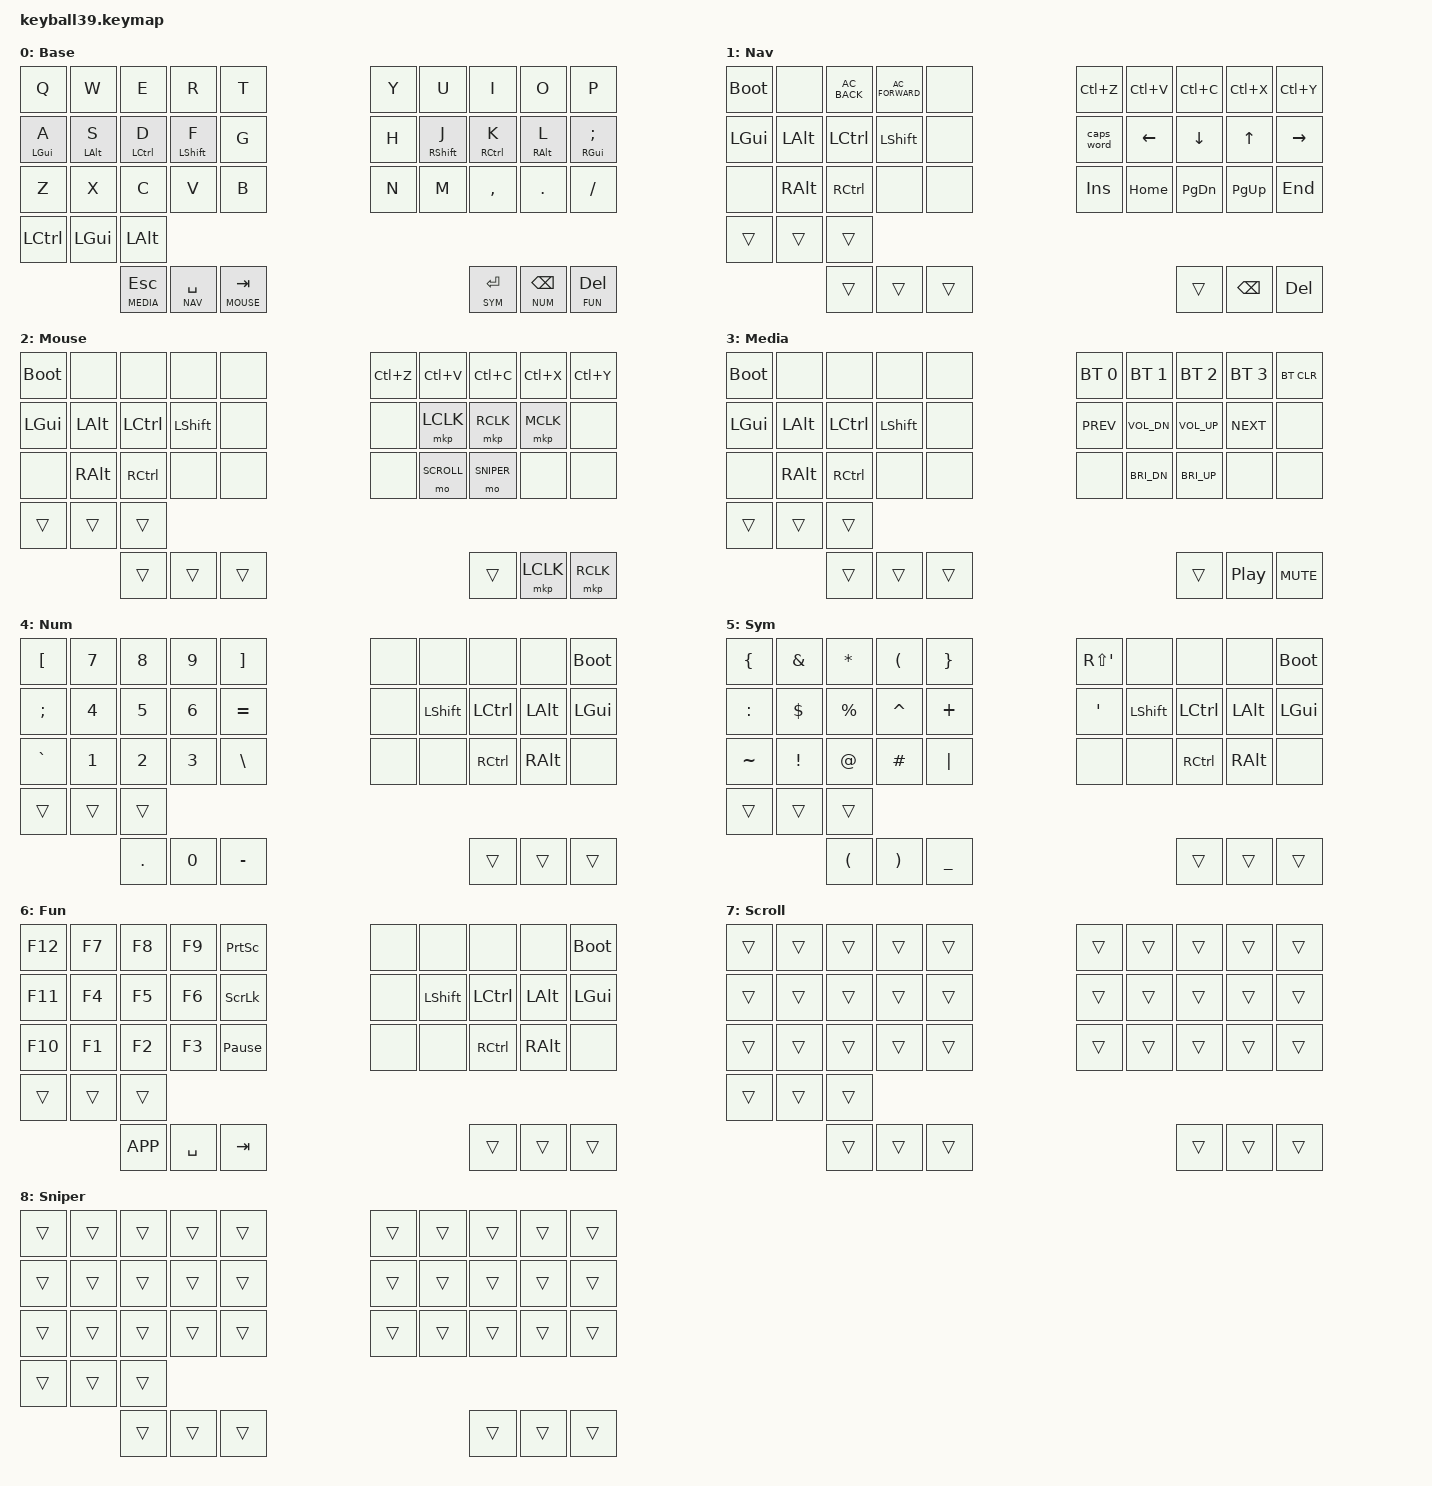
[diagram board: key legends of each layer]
// Copyright 2024 Keyball39 Miryoku Layout
// Miryoku-inspired layout for Keyball39 with trackball support

#include <behaviors/mouse_keys.dtsi>
#include <dt-bindings/zmk/mouse.h>
#include <behaviors.dtsi>
#include <dt-bindings/zmk/bt.h>
#include <dt-bindings/zmk/keys.h>

// Layer definitions
#define BASE   0
#define NAV    1
#define MOUSE  2
#define MEDIA  3
#define NUM    4
#define SYM    5
#define FUN    6
#define SCROLL    7
#define SNIPER    8

// Key position groups for timeless home row mods.
#define KEYS_L 0 1 2 3 4 10 11 12 13 14 20 21 22 23 24 30 31 32
#define KEYS_R 5 6 7 8 9 15 16 17 18 19 25 26 27 28 29
#define THUMBS 33 34 35 36 37 38

// Miryoku-style behavior configurations
&lt {
    tapping-term-ms = <200>;
    flavor = "balanced";
    quick-tap-ms = <150>;
};

&mt {
    tapping-term-ms = <200>;
    flavor = "tap-preferred";
    quick-tap-ms = <150>;
};

&caps_word {
    continue-list = <UNDERSCORE MINUS>;
};

/ {
    behaviors {
        // Home row mods (GACS - GUI, ALT, CTRL, SHIFT)
        hml: homerow_mods_left {
            compatible = "zmk,behavior-hold-tap";
            #binding-cells = <2>;
            flavor = "balanced";
            tapping-term-ms = <280>;
            quick-tap-ms = <175>;
            require-prior-idle-ms = <150>;
            bindings = <&kp>, <&kp>;
            hold-trigger-key-positions = <KEYS_R THUMBS>;
            hold-trigger-on-release;
        };

        hmr: homerow_mods_right {
            compatible = "zmk,behavior-hold-tap";
            #binding-cells = <2>;
            flavor = "balanced";
            tapping-term-ms = <280>;
            quick-tap-ms = <175>;
            require-prior-idle-ms = <150>;
            bindings = <&kp>, <&kp>;
            hold-trigger-key-positions = <KEYS_L THUMBS>;
            hold-trigger-on-release;
        };
    };

    keymap {
        compatible = "zmk,keymap";

        // BASE Layer (QWERTY with home row mods)
        base_layer {
            label = "Base";
            bindings = <
&kp Q         &kp W         &kp E         &kp R         &kp T                                      &kp Y         &kp U         &kp I         &kp O         &kp P
&hml LGUI A   &hml LALT S   &hml LCTRL D  &hml LSHFT F  &kp G                                      &kp H         &hmr RSHFT J  &hmr RCTRL K  &hmr RALT L   &hmr RGUI SEMICOLON
&kp Z         &kp X         &kp C         &kp V         &kp B                                      &kp N         &kp M         &kp COMMA     &kp DOT       &kp SLASH
&kp LCTRL     &kp LGUI      &kp LALT
                            &lt MEDIA ESC &lt NAV SPACE  &lt MOUSE TAB                             &lt SYM RET  &lt NUM BSPC                              &lt FUN DEL
            >;
        };

        // NAV Layer (Navigation and editing)
        nav_layer {
            label = "Nav";
            bindings = <
&bootloader   &none         &kp C_AC_BACK &kp C_AC_FORWARD    &none                         &kp LC(Z)     &kp LC(V)     &kp LC(C)     &kp LC(X)     &kp LC(Y)
&kp LGUI      &kp LALT      &kp LCTRL     &kp LSHFT           &none                         &caps_word    &kp LEFT      &kp DOWN      &kp UP        &kp RIGHT
&none         &kp RALT      &kp RCTRL     &none               &none                         &kp INS       &kp HOME      &kp PG_DN     &kp PG_UP     &kp END
&trans        &trans        &trans
                            &trans        &trans              &trans                        &trans        &kp BSPC                                  &kp DEL
            >;
        };

        // MOUSE Layer (Mouse keys + trackball modes)
        mouse_layer {
            label = "Mouse";
            bindings = <    
&bootloader   &none         &none         &none         &none                         &kp LC(Z)     &kp LC(V)     &kp LC(C)     &kp LC(X)     &kp LC(Y)
&kp LGUI      &kp LALT      &kp LCTRL     &kp LSHFT     &none                         &none         &mkp LCLK     &mkp RCLK     &mkp MCLK     &none
&none         &kp RALT      &kp RCTRL     &none         &none                         &none         &mo SCROLL    &mo SNIPER    &none         &none
&trans        &trans        &trans
                            &trans        &trans        &trans                        &trans        &mkp LCLK                                 &mkp RCLK
            >;
        };

        // MEDIA Layer (Media controls)
        media_layer {
            label = "Media";
            bindings = <
&bootloader   &none         &none         &none         &none                         &bt BT_SEL 0  &bt BT_SEL 1  &bt BT_SEL 2  &bt BT_SEL 3  &bt BT_CLR
&kp LGUI      &kp LALT      &kp LCTRL     &kp LSHFT     &none                         &kp C_PREV    &kp C_VOL_DN  &kp C_VOL_UP  &kp C_NEXT    &none
&none         &kp RALT      &kp RCTRL     &none         &none                         &none         &kp C_BRI_DN  &kp C_BRI_UP  &none         &none
&trans        &trans        &trans
                            &trans        &trans        &trans                        &trans        &kp C_PP                                  &kp C_MUTE
            >;
        };

        // NUM Layer (Numbers and symbols)
        num_layer {
            label = "Num";
            bindings = <
&kp LBKT      &kp N7        &kp N8        &kp N9        &kp RBKT                      &none         &none         &none         &none         &bootloader
&kp SEMI      &kp N4        &kp N5        &kp N6        &kp EQUAL                     &none         &kp LSHFT     &kp LCTRL     &kp LALT      &kp LGUI
&kp GRAVE     &kp N1        &kp N2        &kp N3        &kp BSLH                      &none         &none         &kp RCTRL     &kp RALT      &none
&trans        &trans        &trans
                            &kp DOT       &kp N0        &kp MINUS                     &trans        &trans                                    &trans
            >;
        };

        // SYM Layer (Symbols)
        sym_layer {
            label = "Sym";
            bindings = <
&kp LBRC      &kp AMPS      &kp ASTRK     &kp LPAR      &kp RBRC                      &kp RS(SINGLE_QUOTE)   &none         &none         &none         &bootloader
&kp COLON     &kp DLLR      &kp PRCNT     &kp CARET     &kp PLUS                      &kp SINGLE_QUOTE       &kp LSHFT     &kp LCTRL     &kp LALT      &kp LGUI
&kp TILDE     &kp EXCL      &kp AT        &kp HASH      &kp PIPE                      &none                  &none         &kp RCTRL     &kp RALT      &none
&trans        &trans        &trans
                            &kp LPAR      &kp RPAR      &kp UNDER                     &trans                 &trans                                    &trans
            >;
        };

        // FUN Layer (Function keys)
        fun_layer {
            label = "Fun";
            bindings = <
&kp F12       &kp F7        &kp F8        &kp F9        &kp PSCRN                     &none         &none         &none         &none         &bootloader
&kp F11       &kp F4        &kp F5        &kp F6        &kp SLCK                      &none         &kp LSHFT     &kp LCTRL     &kp LALT      &kp LGUI
&kp F10       &kp F1        &kp F2        &kp F3        &kp PAUSE_BREAK               &none         &none         &kp RCTRL     &kp RALT      &none
&trans        &trans        &trans
                            &kp K_APP     &kp SPACE     &kp TAB                       &trans        &trans                                    &trans
            >;
        };

        // SCROLL Layer (Trackball scroll mode)
        scroll_layer {
            label = "Scroll";
            bindings = <
&trans        &trans        &trans        &trans        &trans                        &trans        &trans        &trans        &trans        &trans
&trans        &trans        &trans        &trans        &trans                        &trans        &trans        &trans        &trans        &trans
&trans        &trans        &trans        &trans        &trans                        &trans        &trans        &trans        &trans        &trans
&trans        &trans        &trans
                            &trans        &trans        &trans                        &trans        &trans                                    &trans
            >;
        };

        // SNIPER Layer (Trackball sniper mode)
        sniper_layer {
            label = "Sniper";
            bindings = <
&trans        &trans        &trans        &trans        &trans                        &trans        &trans        &trans        &trans        &trans
&trans        &trans        &trans        &trans        &trans                        &trans        &trans        &trans        &trans        &trans
&trans        &trans        &trans        &trans        &trans                        &trans        &trans        &trans        &trans        &trans
&trans        &trans        &trans
                            &trans        &trans        &trans                        &trans        &trans                                    &trans
            >;
        };
    };
};
